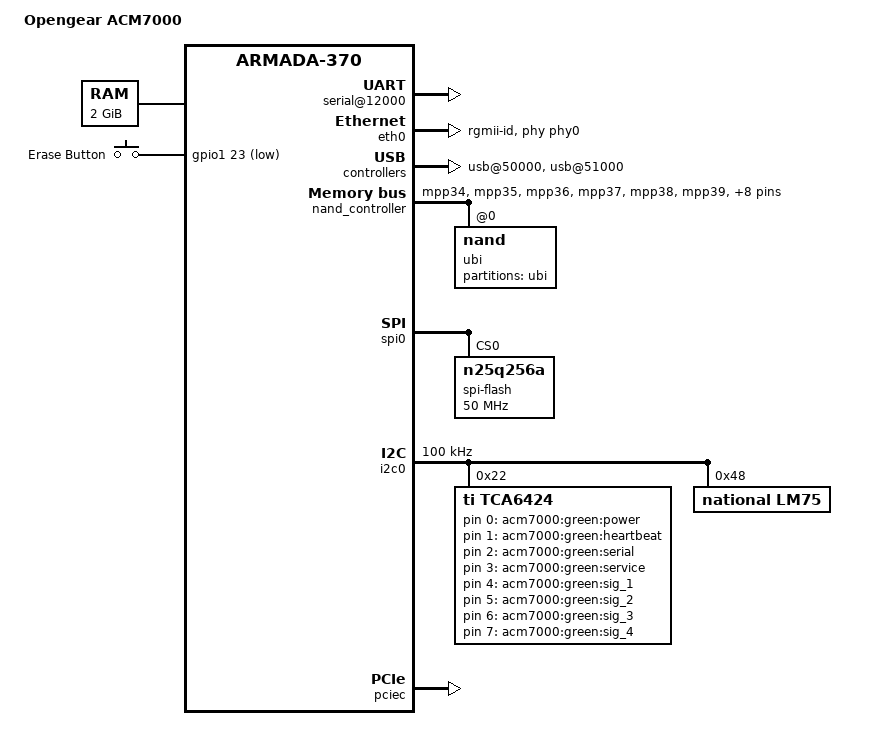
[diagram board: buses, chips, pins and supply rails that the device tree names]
/*
 * Device Tree file for Opengear ACM7000
 *
 * Ken Wilson <ken.wilson@opengear.com>
 *
 * This file is licensed under the terms of the GNU General Public
 * License version 2.  This program is licensed "as is" without any
 * warranty of any kind, whether express or implied.
 */

#include "armada-370.dtsi"

/ {
	model = "Opengear ACM7000";
	compatible = "opengear,cm7000", "marvell,armada370", "marvell,armada-370-xp";

	chosen {
		bootargs = "console=ttyS0,115200 earlyprintk debug root=/dev/ram0";
	};

	memory {
		device_type = "memory";
		reg = <0x00000000 0x80000000>; /* 2 GB */
	};

	soc {
		ranges = <MBUS_ID(0xf0, 0x01) 0 0xd0000000 0x100000
			  MBUS_ID(0x01, 0xe0) 0 0xfff00000 0x100000
			  MBUS_ID(0x09, 0x01) 0 0xf1100000 0x10000>;

		internal-regs {
			serial@12000 {
				clock-frequency = <200000000>;
				pinctrl-0 = <&uart0_pins>;
				pinctrl-names = "default";
				status = "okay";
			};

			timer@20300 {
				clock-frequency = <600000000>;
				status = "okay";
			};

			watchdog@20300 {
				compatible = "marvell,armada-370-wdt";
				reg = <0x20300 0x34>, <0x20704 0x4>;
				clocks = <&coreclk 2>;
				status = "okay";
			};

			gpio_keys {
				compatible = "gpio-keys";
				#address-cells = <1>;
				#size-cells = <0>;
				button@0 {
					label = "Erase Button";
					linux,code = <84>; /* Delete */
					gpios = <&gpio1 23 1>;
				};
			};

			mdio {
				pinctrl-0 = <&mdio_pins>;
				pinctrl-names = "default";
			};

			eth0: ethernet@70000 {
				status = "okay";
				phy = <&phy0>;
				phy-mode = "rgmii-id";
				
			};

			usb@50000 {
				status = "okay";
			};

			usb@51000 {
				status = "okay";
			};
		};
	};

	gpio_leds {
		compatible = "gpio-leds";

		green_power_led {
			label = "acm7000:green:power";
			gpios = <&tca6424 0 0>;
			default-state = "on";
		};

		green_hb_led {
			label = "acm7000:green:heartbeat";
			gpios = <&tca6424 1 0>;
			linux,default-trigger = "heartbeat";
		};

		green_serial_led {
			label = "acm7000:green:serial";
			gpios = <&tca6424 2 0>;
			linux,default-trigger = "serial";
		};

		green_service_led {
			label = "acm7000:green:service";
			gpios = <&tca6424 3 0>;
			linux,default-trigger = "none";
		};

		green_sig1_led {
			label = "acm7000:green:sig_1";
			gpios = <&tca6424 4 0>;
			default-state = "off";
		};

		green_sig_2_led {
			label = "acm7000:green:sig_2";
			gpios = <&tca6424 5 0>;
			default-state = "off";
		};

		green_sig_3_led {
			label = "acm7000:green:sig_3";
			gpios = <&tca6424 6 0>;
			default-state = "off";
		};

		green_sig_4_led {
			label = "acm7000:green:sig_4";
			gpios = <&tca6424 7 0>;
			default-state = "off";
		};
	};
};

&nand_controller {
	status = "okay";
	pinctrl-0 = <&nand_pins>;
	pinctrl-names = "default";

	nand@0 {
		reg = <0>;
		label = "ubi";
		nand-rb = <0>;
		nand-on-flash-bbt;
		nand-ecc-strength = <40>;
		nand-ecc-step-size = <1024>;
		nand-ecc-algo = "bch";
		nand-ecc-mode = "soft";

		partitions {
			compatible = "fixed-partitions";
			#address-cells = <1>;
			#size-cells = <1>;

			partition@0 {
				label = "ubi";
				reg = <0x00000000 0xFFE00000>;
			};
		};
	};
};

&spi0 {
	status = "okay";
	pinctrl-0 = <&spi0_pins2>;
	pinctrl-names = "default";

	spi-flash@0 {
		#address-cells = <1>;
		#size-cells = <1>;
		compatible = "n25q256a", "jedec,spi-nor";
		reg = <0>; /* Chip select 0 */
		spi-max-frequency = <50000000>;

		u-boot@0 {
			label = "u-boot";
			reg = <0x00000000 0x00100000>;
		};

		u-boot-config-block@100000 {
			label = "u-boot config block";
			reg = <0x00100000 0x00020000>;
		};

		factory-img@120000 {
			label = "factory_img";
			reg = <0x00120000 0x1400000>;
		};

		system-log@1520000 {
			label = "system_log";
			reg = <0x1520000 0x00200000>;
		};

		mtd-oops@1720000 {
			label = "mtd-oops";
			reg = <0x1720000 0x00080000>;
		};

		reserved@17A0000 {
			label = "reserved";
			reg = <0x17A0000 0x860000>;
		};

		all-spi@0 {
			label = "all-spi";
			reg = <0x0 0x2000000>;
		};
	};
};

&i2c0 {
	status = "okay";
	clock-frequency = <100000>;

	tca6424: gpio@22 {
		compatible = "ti,tca6424";
		reg = <0x22>;
		gpio-controller;
		#gpio-cells = <2>;
	};

	lm75: lm75@48 {
		compatible = "national,lm75";
		reg = <0x48>;
	};
};

&pinctrl {
	/* NAND */
	nand_pins: nand-pins {
		marvell,pins = "mpp34", "mpp35", "mpp36", "mpp37", "mpp38",
				"mpp39", "mpp40", "mpp41", "mpp42", "mpp43", 
				"mpp44", "mpp45", "mpp46", "mpp33";
		marvell,function = "dev";
	};

	erase_button_pin: erase-button-pin {	
		marvell,pins = "mpp55";
		marvell,function = "gpo";
	};

	wdt_enable_pin: wdt-enable-pin {
		marvell,pins = "mpp60";
		marvell,function = "gpio";
	};

	wdt_tickle_pin: wdt-tickle-pin {	
		marvell,pins = "mpp61";
		marvell,function = "gpo";
	};
};

&pciec {
	status = "okay";

	/* Internal mini-PCIe connector */
	pcie@1,0 {
		/* Port 0, Lane 0 */
		status = "okay";
	};

	/* Connected on the PCB to a USB 3.0 XHCI controller */
	pcie@2,0 {
		/* Port 1, Lane 0 */
		status = "okay";
	};
};

